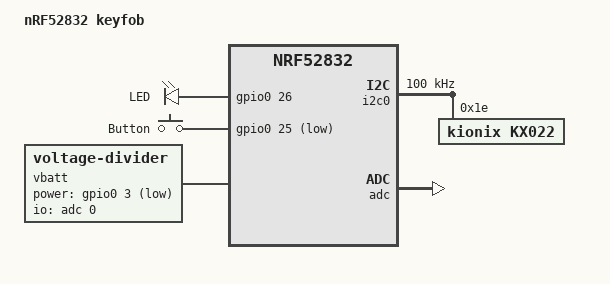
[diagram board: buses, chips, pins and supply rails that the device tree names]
/*
 * Copyright (c) 2022 Maximilian Deubel
 *
 * SPDX-License-Identifier: Apache-2.0
 */

/dts-v1/;
#include <nordic/nrf52832_qfaa.dtsi>
#include "nrf52_keyfob-pinctrl.dtsi"

/ {
	model = "nRF52832 keyfob";
	compatible = "generic,nrf52832";

	chosen {
		zephyr,console = &uart0;
		zephyr,shell-uart = &uart0;
		zephyr,bt-mon-uart = &uart0;
		zephyr,bt-c2h-uart = &uart0;
		zephyr,sram = &sram0;
		zephyr,flash = &flash0;
		zephyr,code-partition = &slot0_partition;
	};

	/* These aliases are provided for compatibility with samples */
	aliases {
		led0 = &led0;
		sw0 = &button0;
		watchdog0 = &wdt0;
		accel0 = &kx022;
	};

	leds {
		compatible = "gpio-leds";
		led0: led_0 {
			gpios = <&gpio0 26 GPIO_ACTIVE_HIGH>;
			label = "LED";
		};
	};

	buttons {
		compatible = "gpio-keys";
		button0: button_0 {
			gpios = <&gpio0 25 (GPIO_PULL_UP | GPIO_ACTIVE_LOW)>;
			label = "Button";
		};
	};

	vbatt {
		compatible = "voltage-divider";
		io-channels = <&adc 0>;
		output-ohms = <100000>;
		full-ohms = <(100000 + 100000)>;
		power-gpios = <&gpio0 3 GPIO_ACTIVE_LOW>;
	};
};

&gpiote {
	status = "okay";
};

&gpio0 {
	status = "okay";
};

&i2c0 {
	compatible = "nordic,nrf-twi";
	status = "okay";
	clock-frequency = <I2C_BITRATE_STANDARD>;

	pinctrl-0 = <&i2c0_default>;
	pinctrl-1 = <&i2c0_sleep>;
	pinctrl-names = "default", "sleep";

	kx022: kx022@1e {
		compatible = "kionix,kx022";
		reg = <0x1e>;
		status = "okay";
	};
};

&adc {
	status = "okay";
};

&flash0 {
	partitions {
		compatible = "fixed-partitions";
		#address-cells = <1>;
		#size-cells = <1>;
		slot0_partition: partition@0 {
			label = "image-0";
			reg = <0x00000000 0x32000>;
		};

		storage_partition: partition@32000 {
			label = "storage";
			reg = <0x32000 0x00006000>;
		};
	};
};
